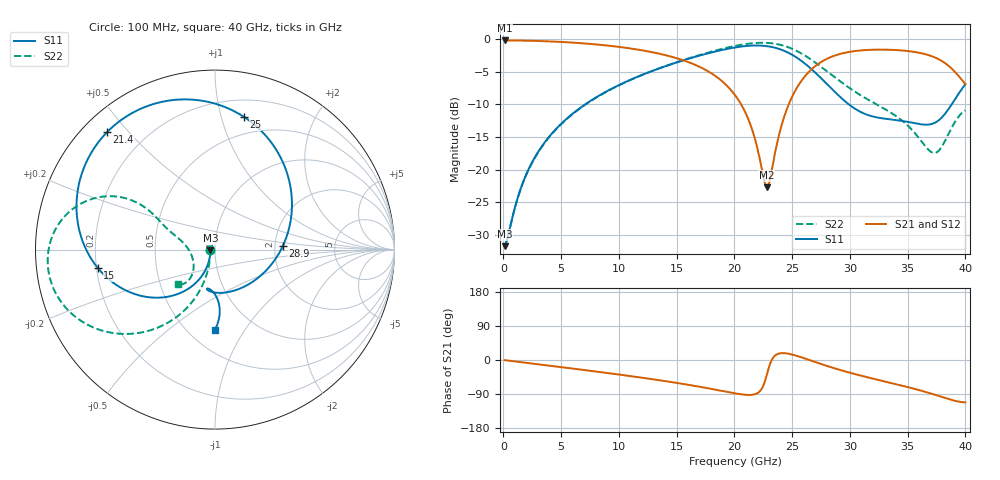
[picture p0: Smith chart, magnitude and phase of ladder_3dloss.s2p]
# Hz S RI R 50
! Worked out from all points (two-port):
!   400 points, 100 MHz to 40 GHz, reference 50 ohm
!   highest |S21| = -0.22 dB at 100 MHz (marker M1); lowest = -22.7 dB at 22.8 GHz (marker M2)
!   |S21| within 3 dB of the highest: start of sweep to 15.5 GHz; 27.8 GHz to 37.81 GHz (10.01 GHz wide, 30.5 % of centre)
!   lowest |S11| = -31.7 dB at 100 MHz (marker M3), VSWR 1.05, Z = 47.5 - j0.404 ohm
!   |S11| at or under -10 dB: start of sweep to 7.093 GHz; 29.89 GHz to 38.82 GHz (8.927 GHz wide, 26 % of centre)
!   |S22| runs from -31.7 to -0.6 dB; largest |S21 - S12| = 0
!   S11 on the Smith chart (normalised r, x): 100 MHz: 0.95, -0.01; 15 GHz: 0.21, -0.07; 21.4 GHz: 0.07, +0.44; 25 GHz: 0.34, +1.18; 28.9 GHz: 2.21, +0.10; 40 GHz: 0.66, -0.75
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1e8  -0.0255 -0.00425  0.9745 -0.00635  0.9745 -0.00635  -0.0255 -0.00431
1.4e9  -0.0327 -0.0591  0.9685 -0.0886  0.9685 -0.0886  -0.0294 -0.0603
2.6e9  -0.0501 -0.1077  0.9539 -0.1633  0.9539 -0.1633  -0.039 -0.1113
4.4e9  -0.0951 -0.1734  0.9159 -0.2712  0.9159 -0.2712  -0.064 -0.1856
6.8e9  -0.1869 -0.239  0.8362 -0.4018  0.8362 -0.4018  -0.1171 -0.2777
1.03e10  -0.3718 -0.265  0.6653 -0.5499  0.6653 -0.5499  -0.2345 -0.3897
1.34e10  -0.5607 -0.1893  0.4673 -0.618  0.4673 -0.618  -0.379 -0.4547
1.5e10  -0.6535 -0.1018  0.3519 -0.6197  0.3519 -0.6197  -0.4696 -0.4692
1.8e10  -0.7683 0.1766  0.1298 -0.5305  0.1298 -0.5305  -0.6695 -0.4372
2.01e10  -0.7269 0.4643  0.0112 -0.3664  0.0112 -0.3664  -0.8204 -0.3357
2.14e10  -0.6009 0.6549  -0.00838 -0.2189  -0.00838 -0.2189  -0.8972 -0.2225
2.28e10  -0.3523 0.8081  0.0564 -0.0467  0.0564 -0.0467  -0.9322 -0.0567
2.41e10  -0.0452 0.8244  0.2101 0.0689  0.2101 0.0689  -0.8897 0.111
2.5e10  0.1613 0.7395  0.3505 0.0897  0.3505 0.0897  -0.8148 0.2078
2.67e10  0.4019 0.4245  0.588 -0.023  0.588 -0.023  -0.6231 0.2954
2.89e10  0.3774 0.0189  0.6913 -0.3086  0.6913 -0.3086  -0.4218 0.2547
3.09e10  0.2124 -0.1775  0.6176 -0.5342  0.6176 -0.5342  -0.3263 0.1787
3.34e10  0.0275 -0.2412  0.4212 -0.7118  0.4212 -0.7118  -0.2563 0.1066
3.55e10  -0.0432 -0.2232  0.2022 -0.7722  0.2022 -0.7722  -0.1891 0.0501
3.73e10  -0.022 -0.2257  -0.0152 -0.7255  -0.0152 -0.7255  -0.1272 -0.0412
3.88e10  0.0241 -0.3132  -0.1579 -0.5735  -0.1579 -0.5735  -0.1364 -0.1568
4e10  -0.00259 -0.4506  -0.168 -0.4173  -0.168 -0.4173  -0.2081 -0.1929
